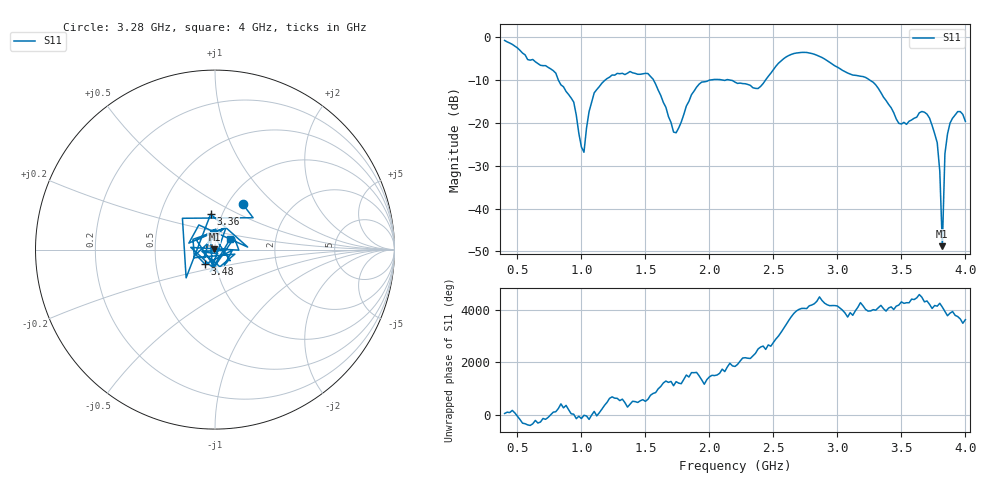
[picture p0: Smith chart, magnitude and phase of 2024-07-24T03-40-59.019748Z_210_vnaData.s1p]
!Created with skrf (http://scikit-rf.org).
# Hz S RI R 50.0
!freq ReS11 ImS11
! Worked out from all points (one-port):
!   181 points, 400 MHz to 4 GHz, reference 50 ohm
!   lowest |S11| = -48.8 dB at 3.82 GHz (marker M1), VSWR 1.01, Z = 49.7 + j0.149 ohm
!   |S11| at or under -10 dB: 819.6 MHz to 1.187 GHz (367.2 MHz wide, 36.6 % of centre); 1.563 GHz to 2.009 GHz (445.8 MHz wide, 25 % of centre); 3.251 GHz to end of sweep (the widest 3 of 5)
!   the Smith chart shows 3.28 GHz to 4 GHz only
!   S11 on the Smith chart (normalised r, x): 3.28 GHz: 1.17, +0.65; 3.36 GHz: 0.88, +0.36; 3.48 GHz: 0.88, -0.15; 4 GHz: 1.18, +0.14
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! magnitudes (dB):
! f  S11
! 400 MHz  -0.8
! 780 MHz  -7.8
! 860 MHz  -11.6
! 940 MHz  -15.2
! 1.02 GHz  -26.9
! 1.06 GHz  -17.4
! 1.1 GHz  -13.0
! 1.3 GHz  -8.5
! 1.52 GHz  -8.5
! 1.72 GHz  -22.2
! 1.76 GHz  -21.2
! 1.92 GHz  -11.0
! 2.2 GHz  -10.5
! 2.38 GHz  -12.0
! 2.66 GHz  -3.8
! 3.1 GHz  -8.6
! 3.28 GHz  -10.5
! 3.36 GHz  -14.0
! 3.48 GHz  -20.1
! 3.56 GHz  -19.6
! 3.7 GHz  -18.0
! 3.78 GHz  -24.6
! 3.8 GHz  -31.3
! 3.82 GHz  -48.8
! 3.84 GHz  -27.2
! 3.86 GHz  -22.6
! 3.94 GHz  -17.4
! 4 GHz  -19.7
